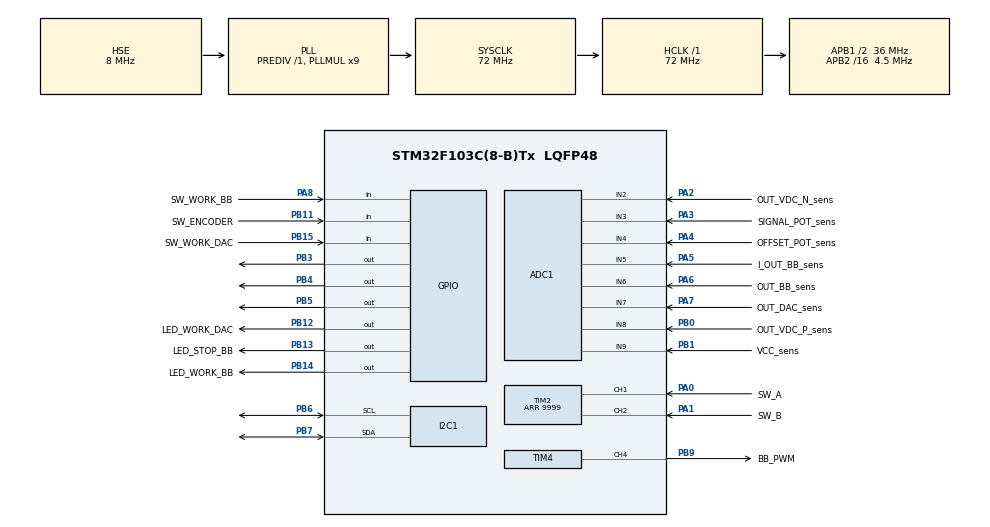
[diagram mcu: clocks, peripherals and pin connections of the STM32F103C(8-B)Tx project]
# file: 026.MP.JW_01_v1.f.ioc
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ADC1.Channel-10\#ChannelRegularConversion=ADC_CHANNEL_9
ADC1.Channel-11\#ChannelRegularConversion=ADC_CHANNEL_8
ADC1.Channel-12\#ChannelRegularConversion=ADC_CHANNEL_7
ADC1.Channel-13\#ChannelRegularConversion=ADC_CHANNEL_6
ADC1.Channel-14\#ChannelRegularConversion=ADC_CHANNEL_5
ADC1.Channel-15\#ChannelRegularConversion=ADC_CHANNEL_4
ADC1.Channel-16\#ChannelRegularConversion=ADC_CHANNEL_3
ADC1.Channel-17\#ChannelRegularConversion=ADC_CHANNEL_2
ADC1.ContinuousConvMode=DISABLE
ADC1.DataAlign=ADC_DATAALIGN_RIGHT
ADC1.DiscontinuousConvMode=DISABLE
ADC1.EnableRegularConversion=ENABLE
ADC1.NbrOfConversion=8
ADC1.NbrOfConversionFlag=1
ADC1.Rank-10\#ChannelRegularConversion=1
ADC1.Rank-11\#ChannelRegularConversion=2
ADC1.Rank-12\#ChannelRegularConversion=3
ADC1.Rank-13\#ChannelRegularConversion=4
ADC1.Rank-14\#ChannelRegularConversion=5
ADC1.Rank-15\#ChannelRegularConversion=6
ADC1.Rank-16\#ChannelRegularConversion=7
ADC1.Rank-17\#ChannelRegularConversion=8
ADC1.SamplingTime-10\#ChannelRegularConversion=ADC_SAMPLETIME_239CYCLES_5
ADC1.SamplingTime-11\#ChannelRegularConversion=ADC_SAMPLETIME_239CYCLES_5
ADC1.SamplingTime-12\#ChannelRegularConversion=ADC_SAMPLETIME_239CYCLES_5
ADC1.SamplingTime-13\#ChannelRegularConversion=ADC_SAMPLETIME_239CYCLES_5
ADC1.SamplingTime-14\#ChannelRegularConversion=ADC_SAMPLETIME_239CYCLES_5
ADC1.SamplingTime-15\#ChannelRegularConversion=ADC_SAMPLETIME_239CYCLES_5
ADC1.SamplingTime-16\#ChannelRegularConversion=ADC_SAMPLETIME_239CYCLES_5
ADC1.SamplingTime-17\#ChannelRegularConversion=ADC_SAMPLETIME_239CYCLES_5
ADC1.master=1
Dma.ADC1.0.Direction=DMA_PERIPH_TO_MEMORY
Dma.ADC1.0.Instance=DMA1_Channel1
Dma.ADC1.0.MemDataAlignment=DMA_MDATAALIGN_WORD
Dma.ADC1.0.MemInc=DMA_MINC_ENABLE
Dma.ADC1.0.Mode=DMA_CIRCULAR
Dma.ADC1.0.PeriphDataAlignment=DMA_PDATAALIGN_WORD
Dma.ADC1.0.PeriphInc=DMA_PINC_DISABLE
Dma.ADC1.0.Priority=DMA_PRIORITY_LOW
Dma.Request0=ADC1
I2C1.I2C_Mode=I2C_Fast
Mcu.Family=STM32F1
Mcu.Name=STM32F103C(8-B)Tx
Mcu.Package=LQFP48
NVIC.DMA1_Channel1_IRQn=true\:0\:0\:false\:false\:true\:true\:true\:true
NVIC.PriorityGroup=NVIC_PRIORITYGROUP_4
NVIC.TIM2_IRQn=true\:1\:0\:true\:false\:true\:true\:true\:true
NVIC.TIM3_IRQn=true\:2\:0\:true\:false\:true\:true\:true\:true
PA0-WKUP.GPIO_Label=SW_A
PA0-WKUP.GPIO_PuPd=GPIO_PULLUP
PA0-WKUP.Signal=S_TIM2_CH1_ETR
PA1.GPIO_Label=SW_B
PA1.GPIO_PuPd=GPIO_PULLUP
PA1.Signal=S_TIM2_CH2
PA2.GPIO_Label=OUT_VDC_N_sens
PA2.Signal=ADCx_IN2
PA3.GPIO_Label=SIGNAL_POT_sens
PA3.Signal=ADCx_IN3
PA4.GPIO_Label=OFFSET_POT_sens
PA4.Signal=ADCx_IN4
PA5.GPIO_Label=I_OUT_BB_sens
PA5.Signal=ADCx_IN5
PA6.GPIO_Label=OUT_BB_sens
PA6.Signal=ADCx_IN6
PA7.GPIO_Label=OUT_DAC_sens
PA7.Signal=ADCx_IN7
PA8.GPIO_Label=SW_WORK_BB
PA8.GPIO_PuPd=GPIO_PULLUP
PA8.Signal=GPIO_Input
PB0.GPIO_Label=OUT_VDC_P_sens
PB0.Signal=ADCx_IN8
PB1.GPIO_Label=VCC_sens
PB1.Signal=ADCx_IN9
PB11.GPIO_Label=SW_ENCODER
PB11.GPIO_PuPd=GPIO_PULLUP
PB11.Signal=GPIO_Input
PB12.GPIO_Label=LED_WORK_DAC
PB12.GPIO_PuPd=GPIO_NOPULL
PB12.Signal=GPIO_Output
PB13.GPIO_Label=LED_STOP_BB
PB13.GPIO_PuPd=GPIO_NOPULL
PB13.Signal=GPIO_Output
PB14.GPIO_Label=LED_WORK_BB
PB14.GPIO_PuPd=GPIO_NOPULL
PB14.Signal=GPIO_Output
PB15.GPIO_Label=SW_WORK_DAC
PB15.GPIO_PuPd=GPIO_PULLUP
PB15.Signal=GPIO_Input
PB3.GPIO_Speed=GPIO_SPEED_FREQ_LOW
PB3.Signal=GPIO_Output
PB4.GPIO_Speed=GPIO_SPEED_FREQ_LOW
PB4.Signal=GPIO_Output
PB5.GPIO_Speed=GPIO_SPEED_FREQ_LOW
PB5.Signal=GPIO_Output
PB6.Mode=I2C
PB6.Signal=I2C1_SCL
PB7.Mode=I2C
PB7.Signal=I2C1_SDA
PB9.GPIO_Label=BB_PWM
PB9.Signal=S_TIM4_CH4
PC14-OSC32_IN.Mode=LSE-External-Oscillator
PC14-OSC32_IN.Signal=RCC_OSC32_IN
PC15-OSC32_OUT.Mode=LSE-External-Oscillator
PC15-OSC32_OUT.Signal=RCC_OSC32_OUT
PD0-OSC_IN.Mode=HSE-External-Oscillator
PD0-OSC_IN.Signal=RCC_OSC_IN
PD1-OSC_OUT.Mode=HSE-External-Oscillator
PD1-OSC_OUT.Signal=RCC_OSC_OUT
ProjectManager.HeapSize=0x200
ProjectManager.StackSize=0x400
ProjectManager.TargetToolchain=STM32CubeIDE
RCC.ADCPresc=RCC_ADCPCLK2_DIV8
RCC.AHBFreq_Value=72000000
RCC.APB1CLKDivider=RCC_HCLK_DIV2
RCC.APB1Freq_Value=36000000
RCC.APB1TimFreq_Value=72000000
RCC.APB2CLKDivider=RCC_HCLK_DIV16
RCC.APB2Freq_Value=4500000
RCC.APB2TimFreq_Value=9000000
RCC.HCLKFreq_Value=72000000
RCC.PLLMUL=RCC_PLL_MUL9
RCC.PLLSourceVirtual=RCC_PLLSOURCE_HSE
RCC.SYSCLKFreq_VALUE=72000000
RCC.SYSCLKSource=RCC_SYSCLKSOURCE_PLLCLK
RCC.USBFreq_Value=72000000
SH.ADCx_IN2.0=ADC1_IN2,IN2
SH.ADCx_IN3.0=ADC1_IN3,IN3
SH.ADCx_IN4.0=ADC1_IN4,IN4
SH.ADCx_IN5.0=ADC1_IN5,IN5
SH.ADCx_IN6.0=ADC1_IN6,IN6
SH.ADCx_IN7.0=ADC1_IN7,IN7
SH.ADCx_IN8.0=ADC1_IN8,IN8
SH.ADCx_IN9.0=ADC1_IN9,IN9
SH.S_TIM2_CH1_ETR.0=TIM2_CH1,Encoder_Interface
SH.S_TIM2_CH2.0=TIM2_CH2,Encoder_Interface
SH.S_TIM4_CH4.0=TIM4_CH4,PWM Generation4 CH4
TIM2.ClockDivision=TIM_CLOCKDIVISION_DIV1
TIM2.CounterMode=TIM_COUNTERMODE_UP
TIM2.EncoderMode=TIM_ENCODERMODE_TI1
TIM2.IC1Filter=0
TIM2.IC1Polarity=TIM_ICPOLARITY_FALLING
TIM2.IC1Prescaler=TIM_ICPSC_DIV1
TIM2.IC2Polarity=TIM_ICPOLARITY_FALLING
TIM2.IC2Prescaler=TIM_ICPSC_DIV1
TIM2.Period=9999
TIM3.AutoReloadPreload=TIM_AUTORELOAD_PRELOAD_ENABLE
TIM3.Channel-Output\ Compare3\ No\ Output=TIM_CHANNEL_3
TIM3.ClockDivision=TIM_CLOCKDIVISION_DIV1
TIM3.Period=59999
TIM3.Prescaler=11
TIM4.AutoReloadPreload=TIM_AUTORELOAD_PRELOAD_ENABLE
TIM4.Channel-PWM\ Generation4\ CH4=TIM_CHANNEL_4
TIM4.Period=359
TIM4.Prescaler=0
VP_SYS_VS_ND.Mode=No_Debug
VP_TIM3_VS_ClockSourceINT.Mode=Internal
VP_TIM3_VS_no_output3.Mode=Output Compare3 No Output
board=custom

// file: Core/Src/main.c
/* USER CODE BEGIN Header */
/**

 ******************************************************************************
 */
/* USER CODE END Header */

#include <adc.h>
#include <AD9833.h>
#include <cmsis_gcc.h>
#include <dma.h>
#include <fonts.h>
#include <ftoa.h>
#include <gpio.h>
#include <i2c.h>
#include <moving_average.h>
#include <ssd1306.h>
#include <stm32f103xb.h>
#include <stm32f1xx.h>
#include <stm32f1xx_hal_adc.h>
#include <stm32f1xx_hal_adc_ex.h>
#include <stm32f1xx_hal_def.h>
#include <stm32f1xx_hal_flash.h>
#include <stm32f1xx_hal_gpio.h>
#include <stm32f1xx_hal_rcc.h>
#include <stm32f1xx_hal_rcc_ex.h>
#include <stm32f1xx_hal_tim.h>
#include <tim.h>

/* USER CODE END Includes */

/* USER CODE BEGIN PD */

//constants values
#define mes_size 8 //number of ADC channels

//ADC factors
#define n_batt 2.02f	//battery voltage divider multiplier
#define f_batt 0.1f	 //battery voltage factor (adding to value)
#define n_pos_vdc 11.15f	//positive voltage divider (to opamp) multiplier
#define f_pos_vdc 0.1f	//positive voltage divider (to opamp) factor (adding to value)
#define n_conv_voltage_out 11.01f	//converter voltage divider multiplier
#define f_gain 0.05f //factor to opamp gain

//voltage values (references)
#define U_reff 3.33f //reference voltage to converting voltages value
#define U_bb_max 25.0f //max voltage [in V] value possible to set in converter
#define I_bb_max 2000.0f //max current [in mA] value possible to set in converter
#define U_I_mes_bb_max 1.00f// max voltage [in V] in the shunt for current measurements (at the max possible current)
#define U_batt_min 2.7f// min voltage in battery
#define U_batt_max 4.2f// max voltage in battery

/*
 * UNITS:
 * VOLTAGE -  [V]
 * CURRENT - [mA]
 * FREQUENCY - [Hz]
 * PWM - [-]
 *
 * CODE IS DEDICATED TO WORK WITH HARDWARE IN 2.3.1 VERSION
 */

/* USER CODE END PD */

/* USER CODE BEGIN PV */

//NECESSARY VALUES

//converter
int16_t conv_pwm_control = 0;	//PWM value to converter transistor
float conv_voltage_set = 5.0f; //voltage set on the converter - with initial value
float conv_voltage_mes = 0.0f; //voltage read from ADC (after processing)
float conv_current_set =500.0f ;//current set on the converter - with initial value
float conv_current_mes = 0.0f; //current read from ADC (after processing)
uint8_t conv_sw_start = 0; //converter start stop variable
uint8_t conv_sw_start_prev = 0; //converter start stop variable - previous state
uint8_t conv_led_red = 0; //red LED (overcurrent protection) state variable
uint8_t conv_led_green = 0; //green (on/off) LED state variable
float conv_prev_voltage_diff = 0.0f;	//previous voltage difference between set and measure voltage
float conv_actual_voltage_diff = 0.0f;	//actual voltage difference between set and measure voltage
const uint16_t conv_pwm_min=0; //min PWM filling threshold
const uint16_t conv_pwm_max=80; //max PWM filling threshold (to protect circuit about short)
const uint16_t conv_pwm_arr_value=360; //max PWM filling - ARR value

//wave generator
float wg_offset_set = 0.0f; //voltage offset output value
float wg_offset_raw = 0.0f; //raw offset value - before converting on real value of offset
uint8_t wg_sw_start = 0; //on off wave generator state
uint8_t wg_led_blue = 0; //blue(on/off) LED state variable
uint32_t dac_freq = 1000; //frequency set on the wg - with initial value
uint8_t wg_wave_mode = 0; //type of generated wave (sine, square, triangle)
const uint32_t wg_max_frequency = 300000; //max wave frequency possible to set
float wg_gain = 0.0f; //gain output signal value
float wg_raw_amplitude = 0.0f;	//raw amplitude value (without gain)
uint8_t wg_offset_ovr = 0;	//overrange of supply voltage for offset
uint8_t wg_out_ovr = 0;	//overrange of supply voltage for wg output
uint8_t wg_out_state = 0;	//wg start stop variable
float wg_cal_out = 0.0f; //calculated output wg value

//ADC and supply
float vcc_voltage_batt_mes = 0.00f; //battery voltage
uint8_t vcc_batt_soc = 0; //battery soc in percent
const uint8_t batt_low_soc = 20; //low battery level in percent
uint8_t batt_low_state = 0;	//low battery state variable
uint8_t error_screen_delay = 0;	//variable to turn on supply error screens after delay (to stabilize the power supply in the opamp section)
uint8_t power_error_state = 0;	//if =1 error screen was show
float pos_vdc_voltage_mes = 0; //positive voltage value to opamp section
float neg_vdc_voltage_mes = 0; //negative voltage value to opamp section
const float pos_vdc_voltage_low = 8.8f; //positive voltage value to set supply trouble
const float neg_vdc_voltage_low = -8.0f; //negative voltage value to set supply trouble
uint32_t adc_raw_value[mes_size]; //ADC raw values buffer
uint16_t adc_value_conv[mes_size]; //ADC filtered values buffer
volatile float value_voltage[mes_size]; //buffer for voltage values from ADC (after conversion on voltage)

//encoder - optimization is needed
volatile uint8_t encoder_switch_short = 0; //short hold variable
uint8_t encoder_switch_short_1 = 0; //short hold variable
uint8_t encoder_switch_short_2 = 0; //short hold variable
volatile uint8_t encoder_switch_long = 0; //long hold variable
uint8_t encoder_switch_long_1 = 0; //long hold variable
uint8_t encoder_switch_long_2 = 0; //long hold variable
volatile uint8_t encoder_switch_double_long = 1; //very long hold variable
uint8_t encoder_switch_double_long_1 = 1; //very long hold variable
uint8_t encoder_switch_double_long_2 = 1; //very long hold variable
uint64_t encoder_switch_timer = 0; //variable to save hold encoder pushbutton moment
volatile uint16_t encoder_rot =0; //ncoder rotation value
uint16_t encoder_rot_prev =0; //previous encoder rotation value
const uint8_t endoer_hold_times[]= {1,5,10,15};	//hold times for encoder pushbutton

//timers
volatile uint8_t timer_3_counter_main = 0;	//main timer counter to generate time base and delays
const uint8_t timer_3_counter_main_max_fac = 10; //main timer counter - value to generate 1 s
volatile uint8_t timer_3_counter_encoder_sw = 0;	//timer counter to encoder pushbutton hold mode
volatile uint8_t timer_3_counter_conv_sync = 0;	//timer for converter reset after asynchronization
volatile uint8_t timer_3_counter_error_check_delay = 0;	//timer for generate delay to error screens
const uint8_t timer_3_counter_error_check_delay_fac = 20; //value of delay to timer for generate delay to error screens
volatile uint8_t timer_3_counter_graph = 0;	//timer to draw x value on a graph
const uint8_t timer_3_counter_graph_max_fac = 5; //value for generate time base for graph (multiplication factor to 10 ms)

//screen
char screen_text_buff[6];	//text buffer
uint8_t screen_cursor_config[3];	//table with cursor configuration for any screen
/*
 * pos 0 - 1=on, 0=0ff
 * pos 1 - number of first line with cursor
 * pos 2 - number of cursor step (in line)
 */
uint8_t screen_new =1;	//new screen was set flag
uint8_t screen_old_num = 0;	//previous screen number
uint16_t screen_multiplier = 10;	//multiplier of the selected value on the screen
const uint16_t screen_multiplier_value[] = {1, 10, 100, 1000}; //possible multipliers for selected values
const uint8_t screen_indicator_step_vertical = 9;	//number of pixels to be jumped by the cursor (during selecting value)
const uint8_t indicator_screens_number = 2;	//number of screens with cursor - view in code

//graph
uint8_t x_value_graph = 0;	//graph value in horizontal (in this code is a time on graphs)
const uint8_t x_value_graph_max_fac = 100; //max value for above
double ox_last_value_graph = 0;	//last value x on a graph
double oy_last_value_graph = 0; //last value y on a graph
uint8_t init_new_graph = 1;	//variable to set new coordinate system on the graph
uint8_t graph_set = 0;	//variable to select graph
uint8_t graph_set_prev = 0;	//previous selected graph number
const uint8_t graph_screen_max = 2;	//number of all screens with a graph

//filters
FilterTypeDef_0 filterStruct_slow[mes_size]; //moving average structure - slow
FilterTypeDef_1 filterStruct_fast[mes_size]; //moving average structure - fast

/* USER CODE END PV */

void SystemClock_Config(void);
/* USER CODE BEGIN PFP */

//map int
long map(long x, long in_min, long in_max, long out_min, long out_max) {
	/*
	 * map function or linear transformation
	 * x - value to scale
	 * in_min - min input value to be scaled
	 * in_max - max input value to be scaled
	 * out_min - min output value after scaled
	 * out_max - max output value after scaled
	 */
	return (x - in_min) * (out_max - out_min) / (in_max - in_min) + out_min;
}
//map float
float map_f(float x, float in_min, float in_max, float out_min, float out_max) {
	/*
	 *  map function or linear transformation
	 * x - value to scale
	 * in_min - min input value to be scaled
	 * in_max - max input value to be scaled
	 * out_min - min output value after scaled
	 * out_max - max output value after scaled
	 */
	return (x - in_min) * (out_max - out_min) / (in_max - in_min) + out_min;
}

//constrain int
long constrain(long x, long a, long b) {
	/*
	 * function to limit the input values
	 * x - input value
	 * a - lowest value of the range
	 * b - highest value of the range
	 */

	if (x < a) {
		return a;
	} else if (x > b) {
		return b;
	} else
		return x;
}

//constrain float
float constrain_f(float x, float a, float b) {
	/*
	 * function to limit the input values
	 * x - input value
	 * a - lowest value of the range
	 * b - highest value of the range
	 */

	if (x < a) {
		return a;
	} else if (x > b) {
		return b;
	} else
		return x;
}

//function to scrolling values int
int32_t scroll_value (int64_t input, int64_t min, int64_t max )
{
	/*
	 * function to scrolling the input values
	 * input - input value
	 * min - lowest value of the range
	 * max - highest value of the range
	 */

	if(input>max)
	{
		input = min;
	}
	else
	{

	}
	return input;
}

//function to scrolling values float
float scroll_value_f (float input,float min, float max )
{
	/*
	 * function to scrolling the input values
	 * input - input value
	 * min - lowest value of the range
	 * max - highest value of the range
	 */

	if(input>max)
	{
		input = min;
	}
	else
	{

	}
	return input;
}

//randomize a number from the range
int64_t random_number (int64_t min_rand, int64_t max_rand)
{
	/*
	 * function to randomize a number from the range
	 * min_rand - lowest value of the range
	 * max_rand - highest value of the range
	 */

	int32_t tmp;
    if (max_rand>=min_rand)
    {
        max_rand-= min_rand;
    }
    else
    {
        tmp= min_rand - max_rand;
        min_rand= max_rand;
        max_rand= tmp;
    }
    return max_rand ? (rand() % max_rand + min_rand) : min_rand;
}

//graph function
void draw_graph(double x, double y, double graph_orgin_x, double graph_orgin_y,
		double graph_w, double graph_h, double xlo_value, double xhi_value,
		double ylo__value, double yhi__value, char title[], uint8_t data_type,
		char time_step[]) {
	/*
	 * function to make graph y=f(x), adapted to work with a library to ssd1306
	 * x - input x value (horizontal), like as time
	 * y - input y value (vertical), lie as voltage
	 * graph_orgin_x - origin point of the graph on the x axis (origin of screen is in high, left corner)
	 * graph_orgin_y - origin point of the graph on the y axis (origin of screen is in high, left corner)
	 * graph_w - graph width
	 * graph_h - graph height
	 * xlo_value - lowest value on the x axis
	 * xhi_value - highest value on the x axis
	 * ylo_value - lowest value on the y axis
	 * yhi_value - highest value on the y axis
	 * title - title of the graph
	 * data_type - data type, 1 if int is used, 0 if float is used,
	 * time_step - step of x value, on the label of the graph
	 */

	//text offset values (near axis)
	uint8_t x_addicional_space = 25;
	uint8_t y_addicional_space = 2;

	if (init_new_graph == 1) {

		init_new_graph = 0;
		SSD1306_DrawFilledRectangle(0, 0, 127, 10, 1);

		SSD1306_GotoXY(1, 2);

		SSD1306_Puts(title, &Font_6x8, 0);
		SSD1306_Puts(": ", &Font_6x8, 0);
		if (data_type == 1) {
			itoa((int16_t) y, screen_text_buff, 10);
		} else {
			ftoa(screen_text_buff, y, 1);
		}
		SSD1306_Puts(screen_text_buff, &Font_6x8, 0);
		SSD1306_Puts(time_step, &Font_6x8, 0);

		ox_last_value_graph = (x - xlo_value) * (graph_w)
				/ (xhi_value - xlo_value) + graph_orgin_x;
		oy_last_value_graph = (y - ylo__value)
				* (graph_orgin_y - graph_h - graph_orgin_y)
				/ (yhi__value - ylo__value) + graph_orgin_y;

		// draw y scale
		SSD1306_DrawLine(graph_orgin_x, graph_orgin_y, graph_orgin_x,
				graph_orgin_y - graph_h, 1);

		SSD1306_GotoXY(graph_orgin_x - x_addicional_space, graph_orgin_y);

		if (data_type == 1) {
			itoa((int16_t) ylo__value, screen_text_buff, 10);
		} else {
			ftoa(screen_text_buff, ylo__value, 1);
		}
		SSD1306_Puts(screen_text_buff, &Font_6x8, 1);

		SSD1306_GotoXY(graph_orgin_x - x_addicional_space, graph_orgin_y - graph_h);

		if (data_type == 1) {
			itoa((int16_t) yhi__value, screen_text_buff, 10);
		} else {
			ftoa(screen_text_buff, yhi__value, 1);
		}
		SSD1306_Puts(screen_text_buff, &Font_6x8, 1);

		// draw x scale
		SSD1306_DrawLine(graph_orgin_x, graph_orgin_y, graph_orgin_x + graph_w,
				graph_orgin_y, 1);

		SSD1306_GotoXY(graph_orgin_x, graph_orgin_y + y_addicional_space);

		if (data_type == 1) {
			itoa((int16_t) xlo_value, screen_text_buff, 10);
		} else {
			ftoa(screen_text_buff, xlo_value, 1);
		}
		SSD1306_Puts(screen_text_buff, &Font_6x8, 1);

		SSD1306_GotoXY(graph_orgin_x + graph_w, graph_orgin_y + y_addicional_space);

		if (data_type == 1) {
			itoa((int16_t) xhi_value, screen_text_buff, 10);
		} else {
			ftoa(screen_text_buff, xhi_value, 1);
		}
		SSD1306_Puts(screen_text_buff, &Font_6x8, 1);
	}

	// graph drawn now plot the data
	x = (x - xlo_value) * (graph_w) / (xhi_value - xlo_value) + graph_orgin_x;
	y = (y - ylo__value) * (graph_orgin_y - graph_h - graph_orgin_y)
			/ (yhi__value - ylo__value) + graph_orgin_y;
	SSD1306_DrawLine(ox_last_value_graph, oy_last_value_graph, x, y, 1);
	SSD1306_DrawLine(ox_last_value_graph, oy_last_value_graph - 1, x, y - 1, 1);
	ox_last_value_graph = x;
	oy_last_value_graph = y;

	// this call sends the data to the screen
	SSD1306_UpdateScreen();

}

//function to calculate voltage inputing to ADC from voltage divider with negative level
float adc_signal_shifter (float r1, float r2, float r3, float Vcc, float Vx)
{
	/*
	 *more about function in calculation sheet
	 * r1 - resistor 1 (Vin)
	 * r2 - resistor 2 (Vcc)
	 * r3 - resistor 3 (ground or the lowest voltage)
	 * Vcc - divider supply voltage
	 * Vx - input voltage (to divider)
	 */
 return ((((Vx*((r2*r3)+(r1*r3)+(r1*r2)))/r3) - (Vcc*r1))/r2);
}

//function with correct factors to offset calculation (obtained using the signal measured by the uC and a multimeter)
float final_offset_correction(float input_offset) {
	/*
	 * input_offset - raw value of ADC voltage, without correction
	 */
	if (input_offset <= -5.0f) {
		input_offset = input_offset * 0.77;
	} else if ((input_offset > -5.0f) && (input_offset <= -4.0f)) {
		input_offset = input_offset * 0.74;
	} else if ((input_offset > -4.0f) && (input_offset <= -3.0f)) {
		input_offset = input_offset * 0.72;
	} else if ((input_offset > -3.0f) && (input_offset <= -2.0f)) {
		input_offset = input_offset * 0.73f;
	} else if ((input_offset > -2.0f) && (input_offset <= -1.0f)) {
		input_offset = input_offset * 0.67f;
	} else if ((input_offset > -1.0f) && (input_offset < 0.0f)) {
		input_offset = input_offset * 0.62f;
	} else if ((input_offset > 0.0f) && (input_offset <= 1.0f)) {
		input_offset = input_offset * 1.01f;
	} else if ((input_offset > 1.0f) && (input_offset <= 2.0f)) {
		input_offset = input_offset * 0.95;
	} else if ((input_offset > 2.0f) && (input_offset <= 3.0f)) {
		input_offset = input_offset * 0.88;
	} else if ((input_offset > 3.0f) && (input_offset <= 4.0f)) {
		input_offset = input_offset * 0.82;
	} else if ((input_offset > 4.0f) && (input_offset <= 5.0f)) {
		input_offset = input_offset * 0.83;
	} else if ((input_offset > 5.0f) && (input_offset <= 6.0f)) {
		input_offset = input_offset * 0.82;
	} else if ((input_offset > 6.0f) && (input_offset <= 7.0f)) {
		input_offset = input_offset * 0.80f;
	} else if ((input_offset > 7.0f) && (input_offset <= 8.0f)) {
		input_offset = input_offset * 0.79;
	} else {
		input_offset = input_offset;
	}

	return input_offset;
}

//function to read ADC from multiple channels and processing the values
void adc_read(void) {

	HAL_ADC_Start_DMA(&hadc1, adc_raw_value, mes_size); //read ADC values

	//use the moving average if is needed
	for (uint8_t i = 0; i <= mes_size - 1; i++) {

		if ((i == 0) || (i == 1) || (i == 7)) {	//slow moving average - to voltages like as supply, pos and neg to op amp

			adc_value_conv[i] = Moving_Average_Compute_0(adc_raw_value[i],
					&filterStruct_slow[i]);

		}

		else if ((i == 2) || (i == 6) || (i == 5) || (i == 4)) {//fast moving average - to potentiometers and converter current

			adc_value_conv[i] = Moving_Average_Compute_1(adc_raw_value[i],
					&filterStruct_fast[i]);
		}

		else {
			adc_value_conv[i] = adc_raw_value[i]; // without moving average - for other signals
		}

		value_voltage[i] = (U_reff / 4095.0f) * adc_value_conv[i];//conversion to voltage
	}

	//further voltage processing

	//channel 9 - li-ion battery voltage - conversion to SOC
	vcc_voltage_batt_mes = (value_voltage[0] * n_batt) + f_batt;
	vcc_batt_soc = map_f(vcc_voltage_batt_mes, U_batt_min, U_batt_max, 0, 100);
	vcc_batt_soc = constrain_f(vcc_batt_soc, 0, 100);

	//channel 8 - step up converter voltage to supply op amp circuit (with required corrections)
	pos_vdc_voltage_mes = (value_voltage[1] * n_pos_vdc) + f_pos_vdc;

	/*
	 *channel 7 - voltage from offset potentiometer,
	 *voltage from the offset potentiometer, between the positive and negative values to ground
	 *is needed shift voltage to ADC level (0-3.3 V)
	 */
	wg_offset_raw = adc_signal_shifter(10.0f, 2.2f, 4.7f, U_reff,
			value_voltage[2]);

	//channel 7 - value correction to the actual level of the voltage value coming out of the potentiometer - raw voltage value
	if ((wg_offset_raw > 4.0f) && (wg_offset_raw < 6.0f)) {
		wg_offset_raw = wg_offset_raw * 0.98f;
	} else if ((wg_offset_raw < 0.0f) && (wg_offset_raw > -4.0f)) {
		wg_offset_raw = wg_offset_raw * 0.95f;
	} else if (wg_offset_raw <= -4.0f) {
		wg_offset_raw = wg_offset_raw * 0.97f;
	} else {
		wg_offset_raw = wg_offset_raw;
	}

	//channel 6 - sepic converter voltage out - to user and feedback
	conv_voltage_mes = value_voltage[3] * n_conv_voltage_out;

	//channel 6 - value correction for channel 6
	if (conv_voltage_mes <= 5.0f) {
		conv_voltage_mes = conv_voltage_mes - 0.1f;
	} else if ((conv_voltage_mes > 5.0f) && (conv_voltage_mes <= 10.0f)) {
		conv_voltage_mes = conv_voltage_mes - 0.25f;
	} else if ((conv_voltage_mes > 10.0f) && (conv_voltage_mes <= 20.0f)) {
		conv_voltage_mes = conv_voltage_mes - 0.5f;
	} else {
		conv_voltage_mes = conv_voltage_mes - 1.0f;
	}

	//channel 5 - shunt voltage to measure current from the sepic converter and proccesing of them
	conv_current_mes = map_f(value_voltage[4], 0.0f, U_I_mes_bb_max, 0.0f,
			I_bb_max);

	//channel 4 - old voltage from offset potentiometer (from second wire of potentiometer) - not used now, free channel to future application
//	dac_offset_set = value_voltage[5];
//	dac_offset_set = map_f(dac_offset_set, 0.0f, U_reff, neg_vdc_voltage_mes ,pos_vdc_voltage_mes);
//	dac_offset_set= constrain_f(dac_offset_set, neg_vdc_voltage_mes, pos_vdc_voltage_mes) ;

	//channel 3 -  voltage from the second circuit of the signal gain potentiometer and converting to potentiometer resistance
	wg_gain = value_voltage[6] + f_gain;
	wg_gain = map_f(wg_gain, 0.0f, U_reff, 0.0f, 10.0f);
	wg_gain = constrain_f(wg_gain, 0.0f, 10.0f);

	//variable with resistance value of gain potentiometer
	float dac_amplitude_pot = wg_gain;

	//calculation of true signal gain on the opamp circuit output
	wg_gain = ((wg_gain / 1) * wg_raw_amplitude);

	//channel 3 - value correction for channel 3
	if ((wg_gain > 0.50f) && (wg_gain < 1.0f)) {
		wg_gain = wg_gain - 0.1f;
	} else if ((wg_gain >= 1.0f) && (wg_gain < 2.0f)) {
		wg_gain = wg_gain * 0.84f;
	} else if ((wg_gain >= 2.0f) && (wg_gain < 3.0f)) {
		wg_gain = wg_gain * 0.84f;
	} else if ((wg_gain >= 3.0f) && (wg_gain < 4.0f)) {
		wg_gain = wg_gain * 0.87f;
	} else if (wg_gain >= 4.0f) {
		wg_gain = wg_gain * 0.91;
	} else {
		wg_gain = wg_gain;
	}

	/*
	 *channel 2 - negative voltage to supply op amp circuit
	 *is needed shift voltage to ADC level (0-3.3 V)
	 */
	neg_vdc_voltage_mes = adc_signal_shifter(10.0f, 2.2f, 4.7f, U_reff,
			value_voltage[7]);

	//calculation of true voltage offset on the output of the opamp circuit
	wg_offset_set = wg_offset_raw * (1 + (dac_amplitude_pot));

	//voltage offset value correction
	wg_offset_set = final_offset_correction(wg_offset_set);	//korekta offsetu

	//average output voltage from wave generator
	wg_cal_out = wg_offset_set - (wg_gain / 2.0f);

	//checking the max offset and output voltage values (is in opamp circuit supply voltage range)
	if (((wg_cal_out - 0.5f) > pos_vdc_voltage_mes)
			|| ((wg_cal_out - 0.5f) < neg_vdc_voltage_mes)) {
		wg_out_ovr = 1;
	} else {
		wg_out_ovr = 0;
	}

	if (((wg_offset_set - 0.5f) > pos_vdc_voltage_mes)
			|| ((wg_offset_set - 0.5f) < neg_vdc_voltage_mes)) {
		wg_offset_ovr = 1;
	} else {
		wg_offset_ovr = 0;
	}
}

//function to scrolling values from encoder to int
uint32_t encoder_managment(uint32_t input, uint32_t min, uint32_t max,
		uint32_t step, uint8_t mode) {
	/*
	 * function scroll values from encoder on the screen depending on the specified parameters
	 * input - value to scroll
	 * min - min scroll value
	 * max - max scroll value
	 * step - step to scroll
	 * mode - if 1 is set the maximum value is not scrolled to the minimum value , if 0 after passing the maximum value returns the minimum value
	 */

	if (encoder_rot_prev > encoder_rot) {
		input = input + step;
		encoder_rot_prev = encoder_rot;
	} else if (encoder_rot_prev < encoder_rot) {
		input = input - step;
		encoder_rot_prev = encoder_rot;
	} else {

	}

	if (mode == 1) {
		input = constrain(input, min, max);
	} else {
		input = scroll_value(input, min, max);
	}

	return input;
}

//function to scrolling values from encoder to float
float encoder_managment_f(float input, float min, float max, float step,
		float mode) {
	/*
	 * function scroll values from encoder on the screen depending on the specified parameters
	 * input - value to scroll
	 * min - min scroll value
	 * max - max scroll value
	 * step - step to scroll
	 * mode - if 1 is set the maximum value is not scrolled to the minimum value , if 0 after passing the maximum value returns the minimum value
	 */
	if (encoder_rot_prev > encoder_rot) {
		input = input + step;
		encoder_rot_prev = encoder_rot;
	} else if (encoder_rot_prev < encoder_rot) {
		input = input - step;
		encoder_rot_prev = encoder_rot;
	} else {

	}

	if (mode == 1) {
		input = constrain_f(input, min, max);
	} else {
		input = scroll_value_f(input, min, max);
	}

	return input;
}

//function to read data from switch and encoder's button
void switch_managment(void) {
	/*
	 * function read hold time from encoder's button using timer 3
	 * function also read data from rocker switches, turn on wg and converter LEDs
	 */

	//encoder's button
	if ((HAL_GPIO_ReadPin(SW_ENCODER_GPIO_Port, SW_ENCODER_Pin) != 1)) {

		if ((timer_3_counter_encoder_sw - encoder_switch_timer
				>= endoer_hold_times[2])
				&& (timer_3_counter_encoder_sw - encoder_switch_timer
						<= endoer_hold_times[3])) //very long
				{
			if (encoder_switch_double_long_1 == 0) {
				encoder_switch_double_long_1++;
				encoder_switch_double_long_2++;
				encoder_switch_long_2--;
			}
		} else if ((timer_3_counter_encoder_sw - encoder_switch_timer
				>= endoer_hold_times[1])
				&& (timer_3_counter_encoder_sw - encoder_switch_timer
						< endoer_hold_times[2])) //long
				{
			if (encoder_switch_long_1 == 0) {
				encoder_switch_long_1++;
				encoder_switch_long_2++;
				encoder_switch_short_2--;
			}
		} else if ((timer_3_counter_encoder_sw - encoder_switch_timer
				>= endoer_hold_times[0])
				&& (timer_3_counter_encoder_sw - encoder_switch_timer
						< endoer_hold_times[1])) //short
				{
			if (encoder_switch_short_1 == 0) {
				encoder_switch_short_1++;
				encoder_switch_short_2++;
			}
		}
	} else {
		encoder_switch_timer = timer_3_counter_encoder_sw;
		encoder_switch_double_long_1 = 0;
		encoder_switch_long_1 = 0;
		encoder_switch_short_1 = 0;
		encoder_switch_double_long = encoder_switch_double_long_2;
		encoder_switch_long = encoder_switch_long_2;
		encoder_switch_short = encoder_switch_short_2;
	}

	//rocker switches status and leds activation

	//converter
	if (HAL_GPIO_ReadPin(GPIOA, SW_WORK_BB_Pin) == 1) {
		conv_sw_start = 1;
		HAL_GPIO_WritePin(GPIOB, LED_WORK_BB_Pin, SET);
	} else {
		conv_sw_start = 0;
		HAL_GPIO_WritePin(GPIOB, LED_WORK_BB_Pin, RESET);
		HAL_GPIO_WritePin(GPIOB, LED_STOP_BB_Pin, RESET);
	}

	//wage generator
	if (HAL_GPIO_ReadPin(GPIOB, SW_WORK_DAC_Pin) == 1) {
		wg_sw_start = 1;
		HAL_GPIO_WritePin(GPIOB, LED_WORK_DAC_Pin, SET);
	} else {
		wg_sw_start = 0;
		HAL_GPIO_WritePin(GPIOB, LED_WORK_DAC_Pin, RESET);
	}
}

//function to control wave generator
void wave_generator_managment(void) {
	//check switch state
	if (wg_sw_start == 1) {
		//set wave shape and frequency
		AD9833_SetWave(wg_wave_mode);
		AD9833_SetWaveData(dac_freq, 0);
	} else {
		AD9833_SetWaveData(0, 0);
		wg_raw_amplitude = 0.0f;
	}
}

//function to control converter work
void converter_managment(void) {

	/*
	 * function to control converter work
	 * converter is build in SEPIC topology
	 * constant values are selected experimentally
	 * code is a kind of PI algorithm
	 * code uses the current and last error
	 * the code first checks the current consumption, if it is lower than the set one,
	 * it checks the voltage difference and generates the PWM
	 * the code works better with the load connected to the output converter (with the lowest oscillations)
	 * converter without connected load has higher oscillation
	 * if the converter goes into an asynchronous state, the code can reset the PWM value
	 * PWM ramping depends on the current consumed, this prevents overly oscillating
	 */

	adc_read();	//fresh ADC data to converter

	//local variable and settings to converter
	conv_actual_voltage_diff = fabs(conv_voltage_set - conv_voltage_mes);//check voltage difference between set and output value
	float conv_voltage_diff_fac_1 = 10.0f; //threshold 1 - big voltage difference
	float conv_voltage_diff_fac_2 = 1.0f; //threshold 2 - small voltage difference
	float conv_diff_hyst_fac = 0.5f; //hysteresis value for switching conditions, to avoid infinite switching of states
	uint8_t conv_diff_state = 0; //variable to switch the correction power
	float conv_prev_voltage_diff_fac = 0; //factor for last value of voltage difference
	float conv_actual_voltage_diff_fac = 0; //factor for current value of voltage difference
	uint16_t conv_ovc_hyst_fac = 100;	// hysteresis to ovc protection
	uint8_t conv_ovc_state = 0;	//overcurrent protection state variable

	//set factors depending on current power consumption
	//if output is connected
	if (conv_current_mes > 0.1f) {
		//voltage difference is big
		if ((conv_actual_voltage_diff >= (conv_voltage_diff_fac_1 + conv_diff_hyst_fac))
				&& (conv_ovc_state == 0)) {
			conv_diff_state = 0;

			conv_prev_voltage_diff_fac = 3.0f;
			conv_actual_voltage_diff_fac = 1.7f;
		}
		//voltage difference is small
		else if ((conv_actual_voltage_diff >= (conv_voltage_diff_fac_2 + conv_diff_hyst_fac))
				&& (conv_actual_voltage_diff < conv_voltage_diff_fac_1)
				&& (conv_ovc_state == 0)) {
			conv_diff_state = 0;

			conv_prev_voltage_diff_fac = 2.5;
			conv_actual_voltage_diff_fac = 1.2;
		}
		//voltage difference is very small
		else {
			conv_diff_state = 1;
		}

		//calculate errors
		conv_actual_voltage_diff = conv_actual_voltage_diff * conv_actual_voltage_diff_fac;
		conv_prev_voltage_diff = conv_prev_voltage_diff * conv_prev_voltage_diff_fac;
	}
	//if output is unconnected
	else {
		//because unloaded converter is very "rapid"
		//lowest voltage difference to correct PWM values
		if (conv_actual_voltage_diff > 0.15f) {
			conv_diff_state = 1;
		}
		//don't correct PWM value
		else {
			conv_diff_state = 2;
		}
	}

	//let's work (if the rocker switch is on)
	if (conv_sw_start == 1) {

		//if the overcurrent protection does not work
		if (conv_current_mes < conv_current_set) {

			//turn off OVC LED
			HAL_GPIO_WritePin(GPIOB, LED_STOP_BB_Pin, RESET);

			//check voltage state and calculate PWM
			if (conv_voltage_set > conv_voltage_mes) {
				if (conv_diff_state == 0) {
					conv_pwm_control = conv_pwm_control
							+ (int16_t) (conv_actual_voltage_diff
									+ conv_prev_voltage_diff);
				} else if (conv_diff_state == 1) {
					conv_pwm_control++;
				} else {
				}
			} else if (conv_voltage_set < conv_voltage_mes) {
				if (conv_diff_state == 0) {
					conv_pwm_control = conv_pwm_control
							- (int16_t) (conv_actual_voltage_diff
									+ conv_prev_voltage_diff);
				} else if (conv_diff_state == 1) {
					conv_pwm_control--;
				} else {
				}
			}
			else {
			}
		}
		//if the overcurrent protection work
		else if (conv_current_mes > conv_current_set) {

			//turn on OVC LED
			HAL_GPIO_WritePin(GPIOB, LED_STOP_BB_Pin, SET);

			conv_ovc_state = 1;

			//reduce the PWM value
			//if difference is big
			if (fabs(conv_current_set - conv_current_mes)
					> ((float) conv_ovc_hyst_fac)) {
				conv_pwm_control = conv_pwm_control - (int16_t)((fabs(conv_current_set - conv_current_mes)* 0.2f));
			}
			//if the difference is small
			else {
				conv_pwm_control--;
			}
		} else {
		}
		//limitation of high value of PWM to protect the transistor in the converter
		conv_pwm_control = constrain(conv_pwm_control,
				((conv_pwm_arr_value * conv_pwm_min) / 100),
				((conv_pwm_arr_value * conv_pwm_max) / 100));
	}
	//if converter is off
	else {
		conv_pwm_control = 0;
		conv_ovc_state = 0;
	}

	//asynchronization protection - reset PWM value
	if ((conv_pwm_control >= ((conv_pwm_arr_value * conv_pwm_max) / 100))
			&& (conv_sw_start == 1)) {
		//set reset delay proportional to voltage difference - it is a core of this mechanism
		uint16_t max_reset_delay = (uint16_t) map_f(conv_actual_voltage_diff,
				0.0f, 20.0f, (float) 0, (float) 10);

		//reset time counter
		if (timer_3_counter_conv_sync >= max_reset_delay) {
			timer_3_counter_conv_sync = 0;
			conv_pwm_control = 0;
		}

	} else {
		timer_3_counter_conv_sync = 0;
	}

		/*
		 * at the first time of start the inverter, check that the load is connected
		 * by increasing the PWM (more than the calculations show)
		 * necessarily to check the current consumption of the initial part of this function
		 * then work with calculated PWM value
		 */
	if ((conv_sw_start == 1) && (conv_sw_start_prev == 0)) {
		//the initial PWM value is scaled and limited
		__HAL_TIM_SET_COMPARE(&htim4, TIM_CHANNEL_4,
				constrain(((int16_t )conv_voltage_set * 5), 20,
						((conv_pwm_arr_value * conv_pwm_max) / 100)));
	} else {
		__HAL_TIM_SET_COMPARE(&htim4, TIM_CHANNEL_4, conv_pwm_control);
	}

	//set new values to incoming calculations
	conv_prev_voltage_diff = conv_actual_voltage_diff;
	conv_sw_start_prev = conv_sw_start;
}

//wave generator screen
void oled_wave_generator(void) {

	//data to set cursor
	screen_cursor_config[0] = 1;	//active
	screen_cursor_config[1] = 0;	//first position
	screen_cursor_config[2] = 1;	//step

	//set title and shape of signal, add information about raw gain of signal (according with AD9833 datasheet)
	SSD1306_GotoXY(0, 0);
	SSD1306_DrawFilledRectangle(0, 0, 109, 7, 1);
	SSD1306_Puts("-GENERATOR- ", &Font_6x8, 0);
	if (wg_wave_mode == 0) {
		SSD1306_Puts("SINE", &Font_6x8, 0);
		wg_raw_amplitude = 0.55f;
	}
	else if (wg_wave_mode == 1) {
		SSD1306_Puts("PWM ", &Font_6x8, 0);
		wg_raw_amplitude = 3.1;
	}
	else if (wg_wave_mode == 2) {
		SSD1306_Puts("TRI ", &Font_6x8, 0);
		wg_raw_amplitude = 0.55f;
	}
	else {
		wg_wave_mode = 0;
		SSD1306_Puts("ERROR", &Font_6x8, 0);
		wg_raw_amplitude = 0.0f;
	}

	//set frequency
	SSD1306_GotoXY(0, 9);
	SSD1306_Puts("F [Hz]: ", &Font_6x8, 1);
	itoa(dac_freq, screen_text_buff, 10);
	SSD1306_Puts(screen_text_buff, &Font_6x8, 1);
	SSD1306_Puts("  ", &Font_6x8, 1);

	//show offset - set by potentiometer
	SSD1306_GotoXY(0, 18);
	SSD1306_Puts("V OS max [V]: ", &Font_6x8, 1);
	ftoa(screen_text_buff, wg_offset_set, 1);

	//add minus symbol (because between -1 and 0 is not displayed)
	if ((wg_offset_set < 0.0f) && (wg_offset_set > -1.0f)) {
		SSD1306_Puts("-", &Font_6x8, 1);
	}
	SSD1306_Puts(screen_text_buff, &Font_6x8, 1);
	SSD1306_Puts("  ", &Font_6x8, 1);

	//show gain - set by potentiometer
	SSD1306_GotoXY(0, 27);
	SSD1306_Puts("GAIN [V]: ", &Font_6x8, 1);
	ftoa(screen_text_buff, wg_gain, 1);
	SSD1306_Puts(screen_text_buff, &Font_6x8, 1);
	SSD1306_Puts("  ", &Font_6x8, 1);

	//show average output voltage
	SSD1306_GotoXY(0, 36);
	SSD1306_Puts("OUT avr [V]: ", &Font_6x8, 1);
	ftoa(screen_text_buff, wg_cal_out, 1);

	//add minus symbol (because between -1 and 0 is not displayed)
	if ((wg_cal_out < 0.0f) && (wg_cal_out > -1.0f)) {
		SSD1306_Puts("-", &Font_6x8, 1);
	}
	SSD1306_Puts(screen_text_buff, &Font_6x8, 1);
	SSD1306_Puts("  ", &Font_6x8, 1);

	//if offset or output is out of the voltage opamp circuit range, set alert
	SSD1306_GotoXY(0, 45);
	if (((wg_out_ovr == 1) || (wg_offset_ovr == 1))&&(error_screen_delay == 1)) {
		SSD1306_Puts("OV VCC !", &Font_6x8, 0);
	} else {
		SSD1306_Puts("        ", &Font_6x8, 1);
	}

	//show data
	SSD1306_UpdateScreen();
}

//converter screen
void oled_converter(void) {

	//data to set cursor
	screen_cursor_config[0] = 1;	//active
	screen_cursor_config[1] = 1;	//first position
	screen_cursor_config[2] = 2;	//step

	//show title
	SSD1306_GotoXY(0, 0);
	SSD1306_DrawFilledRectangle(0, 0, 109, 7, 1);
	SSD1306_Puts("-CONVERTER-", &Font_6x8, 0);

	//show and set voltage value on the output of converter
	SSD1306_GotoXY(0, 9);
	SSD1306_Puts("U SET [V]: ", &Font_6x8, 1);
	ftoa(screen_text_buff, conv_voltage_set, 1);
	SSD1306_Puts(screen_text_buff, &Font_6x8, 1);
	SSD1306_Puts("  ", &Font_6x8, 1);

	//show and set max current value on the output of converter
	SSD1306_GotoXY(0, 18);
	SSD1306_Puts("I SET [mA]: ", &Font_6x8, 1);
	itoa((uint16_t) conv_current_set, screen_text_buff, 10);
	SSD1306_Puts(screen_text_buff, &Font_6x8, 1);
	SSD1306_Puts("  ", &Font_6x8, 1);

	//voltage value on the converter output
	SSD1306_GotoXY(0, 27);
	SSD1306_Puts("U MES [V]: ", &Font_6x8, 1);
	ftoa(screen_text_buff, conv_voltage_mes, 1);
	SSD1306_Puts(screen_text_buff, &Font_6x8, 1);
	SSD1306_Puts("  ", &Font_6x8, 1);

	//current value on the converter output
	SSD1306_GotoXY(0, 36);
	SSD1306_Puts("I MES [mA]: ", &Font_6x8, 1);
	itoa((uint16_t) conv_current_mes, screen_text_buff, 10);
	SSD1306_Puts(screen_text_buff, &Font_6x8, 1);
	SSD1306_Puts("  ", &Font_6x8, 1);

	//pwm value to control the npn transistor of the sepic converter
	SSD1306_GotoXY(0, 45);
	SSD1306_Puts("PWM[-]: ", &Font_6x8, 1);
	ftoa(screen_text_buff, conv_pwm_control, 1);
	SSD1306_Puts(screen_text_buff, &Font_6x8, 1);
	SSD1306_Puts("   ", &Font_6x8, 1);

	//show data
	SSD1306_UpdateScreen();
}

//voltage parameter screen
void oled_parameters(void) {

	//data to set cursor
	screen_cursor_config[0] = 0;	//idle
	screen_cursor_config[1] = 0;	//first pos
	screen_cursor_config[2] = 0;	//step

	//show title
	SSD1306_GotoXY(0, 0);
	SSD1306_DrawFilledRectangle(0, 0, 109, 7, 1);
	SSD1306_Puts("-POWER-", &Font_6x8, 0);

	//show SOC and battery voltage
	SSD1306_GotoXY(0, 9);
	SSD1306_Puts("BATT[%]|[V]: ", &Font_6x8, 1);
	itoa(vcc_batt_soc, screen_text_buff, 10);
	SSD1306_Puts(screen_text_buff, &Font_6x8, 1);
	SSD1306_Puts("|", &Font_6x8, 1);
	ftoa(screen_text_buff, vcc_voltage_batt_mes, 1);
	SSD1306_Puts(screen_text_buff, &Font_6x8, 1);
	SSD1306_Puts("  ", &Font_6x8, 1);

	//show positive voltage supply for opamp
	SSD1306_GotoXY(0, 18);
	SSD1306_Puts("CONV+[V]: ", &Font_6x8, 1);
	ftoa(screen_text_buff, pos_vdc_voltage_mes, 1);
	SSD1306_Puts(screen_text_buff, &Font_6x8, 1);
	SSD1306_Puts("   ", &Font_6x8, 1);

	//show negative voltage supply for opamp
	SSD1306_GotoXY(0, 27);
	SSD1306_Puts("CONV-[V]: ", &Font_6x8, 1);
	ftoa(screen_text_buff, neg_vdc_voltage_mes, 1);
	SSD1306_Puts(screen_text_buff, &Font_6x8, 1);
	SSD1306_Puts("   ", &Font_6x8, 1);

	//show data
	SSD1306_UpdateScreen();
}

//welcome screen
void oled_hello (void)
{
	//show start screen
	SSD1306_GotoXY(10, 10);
	SSD1306_Puts("INITIALIZATION", &Font_6x8, 1);
	HAL_Delay(2);
	SSD1306_UpdateScreen();

	//add random circles
	for(uint8_t n = 0; n<=10; n++)
	{
	SSD1306_DrawCircle(random_number(10,122), random_number(10,54), random_number(5,20), 1);
	SSD1306_UpdateScreen();
	HAL_Delay(2);
	}

}

/*
 * indicator screen function
 * this section add indicator (cursor) on the any screen if is needed
 * indicator shows what type of parameter is choose
 * section also adds a value multiplier (x1, x10, x100, x1000)
 * multiplier multiplies the parameter selected by the indicator
 * this function also allows the parameter to be set using the rotary encoder
 */
void oled_indicator(void) {
	//if screen has been changed or step number is out of range, reset the cursor position
	if ((encoder_switch_short > screen_cursor_config[2]) || (screen_new == 1)) {
		encoder_switch_short = screen_cursor_config[1];
		encoder_switch_short_2 = screen_cursor_config[1];
	}

	//set (new) cursor position
	if (screen_cursor_config[0] == 1) {

		//remove cursor from wrong positions
		for (uint16_t i = screen_cursor_config[1]; i <= screen_cursor_config[2]; i++)	//kasowanie kursora
				{
			SSD1306_GotoXY(110, screen_indicator_step_vertical * i);
			if ((screen_indicator_step_vertical * i) == (screen_indicator_step_vertical * encoder_switch_short)) {
				// but not from currently selected
			} else {
				SSD1306_Puts("  ", &Font_6x8, 1);
			}
		}

		//set cursor on correct position
		SSD1306_GotoXY(110, screen_indicator_step_vertical * encoder_switch_short);
		SSD1306_Puts("<-", &Font_6x8, 1);
	}

	//change selected parameters on the wave generator screem
	if (encoder_switch_long == 0) {
		switch (screen_indicator_step_vertical * encoder_switch_short) {
		case 0: {	//output wave type
			wg_wave_mode = encoder_managment(wg_wave_mode, 0, 2, 1, 1);
			break;
		}
		case screen_indicator_step_vertical: {	//output frequency
			dac_freq = encoder_managment(dac_freq, 0, wg_max_frequency,
					1 * screen_multiplier, 1);
			break;
		}
		default:	//reset
			encoder_switch_short = 0;
		}
	}

	//change selected parameters on the sepic converter screen
	else if (encoder_switch_long == 1) {
		switch (screen_indicator_step_vertical * encoder_switch_short) {
		case screen_indicator_step_vertical: {	//output voltage
			conv_voltage_set = encoder_managment_f(conv_voltage_set, 0.00f,
			U_bb_max, 0.1f * screen_multiplier, 1);
			break;
		}
		case (2*screen_indicator_step_vertical): {	//output current
			conv_current_set = encoder_managment_f(conv_current_set, 0.00f,
			I_bb_max, 1.0f * screen_multiplier, 1);
			break;
		}
		default:	//reset
			encoder_switch_short = 0;
		}

	} else {
		// no more screens
	}

	//add and set value multiplier
	switch (encoder_switch_double_long) {
	case 0: {
		screen_multiplier = screen_multiplier_value[0];
		break;
	}
	case 1: {
		screen_multiplier = screen_multiplier_value[1];
		break;
	}
	case 2: {
		screen_multiplier = screen_multiplier_value[2];
		break;
	}
	case 3: {
		screen_multiplier = screen_multiplier_value[3];
		break;
	}
	default:	//reset
		encoder_switch_double_long = 0;
		encoder_switch_double_long_2 = 0;
		screen_multiplier = 1;
	}

	//screens number where the value multiplier is needed
	if (encoder_switch_long < indicator_screens_number) {
		SSD1306_GotoXY(90, 48);
		itoa(screen_multiplier, screen_text_buff, 10);
		SSD1306_Puts("x", &Font_6x8, 1);
		SSD1306_Puts(screen_text_buff, &Font_6x8, 1);
		SSD1306_Puts("   ", &Font_6x8, 1);
	}

	//show data on the screen
	SSD1306_UpdateScreen();
}

//screen with graphs
void oled_graph(void) {
	//data to set cursor
	screen_cursor_config[0] = 0;	//active
	screen_cursor_config[1] = 0;	//first position
	screen_cursor_config[2] = 0;	//step

	//draw new axis on the graph
	init_new_graph = 1;

	//select graph by rotary encoder
	graph_set = encoder_managment(graph_set, 0, 3, 1, 0);

	switch (graph_set) {

	case 0: {
		draw_graph((double)x_value_graph, conv_voltage_mes, 30, 50, 75, 30, 0, 100, 0,
				conv_voltage_set * 1.5, "U MES [V]", 0, " |50 ms ");
		break;
	}
	case 1: {
		draw_graph((double)x_value_graph, (uint16_t) conv_current_mes, 30, 50, 75, 30,
				0, 100, 0, conv_current_set * 1.5, "I MES [mA]", 1,
				" |50 ms ");
		break;
	}
	case 2: {
		draw_graph((double)x_value_graph, conv_pwm_control, 30, 50, 75, 30, 0, 100, 0,
				300, "PWM", 1, " |50 ms ");
		break;
	}
	default:	//reset
		graph_set = 0;
	}
}

//emergency screen - low battery
void oled_batt(void) {
	//conditions prevent screen jumping
	if ((vcc_batt_soc <  batt_low_soc) && (batt_low_state == 0)) {

		//turn off work of wg and converter
		wg_sw_start = 0;
		conv_sw_start = 0;
		wave_generator_managment();
		converter_managment();

		//show information about alerts
		SSD1306_Clear();
		SSD1306_GotoXY(0, 10);
		SSD1306_Puts("LOW BATTERY", &Font_11x18, 1);

		SSD1306_GotoXY(0, 30);
		SSD1306_Puts("BATT[%]|[V]: ", &Font_6x8, 1);
		itoa(vcc_batt_soc, screen_text_buff, 10);
		SSD1306_Puts(screen_text_buff, &Font_6x8, 1);
		SSD1306_Puts("|", &Font_6x8, 1);
		ftoa(screen_text_buff, vcc_voltage_batt_mes, 1);
		SSD1306_Puts(screen_text_buff, &Font_6x8, 1);
		SSD1306_Puts("  ", &Font_6x8, 1);

		SSD1306_UpdateScreen();
		HAL_Delay(5000);
		SSD1306_Clear();
		SSD1306_UpdateScreen();
		batt_low_state = 1;
	} else if (vcc_batt_soc > (batt_low_soc+10)) {
		batt_low_state = 0;
	} else {

	}
}

//emergency screen - supply to opamp
void oled_vcc_error(void) {
	//conditions prevent screen jumping
	if (((neg_vdc_voltage_mes > neg_vdc_voltage_low)
			|| (pos_vdc_voltage_mes < pos_vdc_voltage_low))
			&& (power_error_state == 0)) {

		//turn off work of wg and converter
		wg_sw_start = 0;
		conv_sw_start = 0;
		wave_generator_managment();
		converter_managment();
		SSD1306_Clear();
		SSD1306_GotoXY(0, 5);
		SSD1306_Puts("POWER ERROR", &Font_11x18, 1);

		//show information about alerts
		SSD1306_GotoXY(0, 25);
		SSD1306_Puts("CONV+[V]: ", &Font_6x8, 1);
		ftoa(screen_text_buff, pos_vdc_voltage_mes, 1);
		SSD1306_Puts(screen_text_buff, &Font_6x8, 1);
		SSD1306_Puts("   ", &Font_6x8, 1);

		SSD1306_GotoXY(0, 35);
		SSD1306_Puts("CONV-[V]: ", &Font_6x8, 1);
		ftoa(screen_text_buff, neg_vdc_voltage_mes, 1);
		SSD1306_Puts(screen_text_buff, &Font_6x8, 1);
		SSD1306_Puts("   ", &Font_6x8, 1);

		SSD1306_UpdateScreen();
		HAL_Delay(5000);
		SSD1306_Clear();
		SSD1306_UpdateScreen();
		power_error_state = 1;

	} else if ((neg_vdc_voltage_mes < (neg_vdc_voltage_mes - 0.2f))
			&& (pos_vdc_voltage_mes > (pos_vdc_voltage_low + 0.2f))) {
		power_error_state = 0;
	} else {

	}
}

//function to control xl6009 - new solution to converter (in future)
//void bb_xl6009(void) {
//
//	float bb_voltage_diff = fabs(bb_voltage_set - bb_voltage_mes);
//
//	if (bb_sw_start == 1)	//przetwornica wlaczona
//			{
//		//on enable pin
//		//i out pwm pin 100 // off
//		if (bb_current_mes <= bb_current_set) {
//			HAL_GPIO_WritePin(GPIOB, LED_STOP_BB_Pin, RESET);
//
//			if(bb_voltage_set > bb_voltage_mes)
//			{
//				//bb_fb pin--;
//
//			}
//			else if (bb_voltage_set < bb_voltage_mes)
//			{
//				//bb_fb pin++;
//
//				}
//
//			else
//			{
//
//			}
//
//		}
//
//		else {
//			HAL_GPIO_WritePin(GPIOB, LED_STOP_BB_Pin, SET);
//			//bb_fb pin++;
//		}
//
//	}
//
//
//
//	else {
//		//off enable pin
//		//i out pwm 0 //off
//	}
//
////		bb_pwm_control = constrain(bb_pwm_control,
////				((bb_pwm_arr * bb_pwm_min) / 100),
////				((bb_pwm_arr * bb_pwm_max) / 100));
//	//maksymalne zakresy pinu fb
//
//	//zapisz pwm do pinu fb
//
//
//}

/* USER CODE END PFP */

int main(void)
{

  /* MCU Configuration--------------------------------------------------------*/

  /* Reset of all peripherals, Initializes the Flash interface and the Systick. */
  HAL_Init();

  /* Configure the system clock */
  SystemClock_Config();

  /* Initialize all configured peripherals */
  MX_GPIO_Init();
  MX_DMA_Init();
  MX_ADC1_Init();
  MX_I2C1_Init();
  MX_TIM3_Init();
  MX_TIM2_Init();
  MX_TIM4_Init();
  /* USER CODE BEGIN 2 */

  //INITs
  //turn LED on the start of Inits
  HAL_GPIO_WritePin(GPIOB, LED_WORK_BB_Pin, SET);
  HAL_GPIO_WritePin(GPIOB, LED_STOP_BB_Pin, SET);
  HAL_GPIO_WritePin(GPIOB, LED_WORK_DAC_Pin, SET);

  	//OLED init
  	SSD1306_Init();

  	//ADC calibration
	if(HAL_OK==HAL_ADCEx_Calibration_Start(&hadc1))
	{
		oled_hello();//after calibration show hello
	}

	//others modules
	HAL_TIM_Encoder_Start(&htim2, TIM_CHANNEL_ALL);	//encoder
	HAL_TIM_PWM_Start(&htim4, TIM_CHANNEL_4); 	//240 kHz PWM
	//moving average - slow and fast
	Moving_Average_Init_0(&filterStruct_slow[mes_size]);
	Moving_Average_Init_1(&filterStruct_fast[mes_size]);
	AD9833_Init(0, 0, 0);	//wave generator module

	//clean screen
	SSD1306_Clear();
	HAL_Delay(10);

	HAL_TIM_Base_Start_IT(&htim3);	//timer turn on

	//turns off LEDs when initialization is complete
	HAL_GPIO_WritePin(GPIOB, LED_WORK_BB_Pin, RESET);
	HAL_GPIO_WritePin(GPIOB, LED_STOP_BB_Pin, RESET);
	HAL_GPIO_WritePin(GPIOB, LED_WORK_DAC_Pin, RESET);

  /* USER CODE END 2 */

  /* Infinite loop */
  /* USER CODE BEGIN WHILE */
	while (1) {

		//read data
		encoder_rot =( __HAL_TIM_GET_COUNTER(&htim2)>> 1); //encoder counter
		adc_read();		 //adc value
		switch_managment();	//switches and encoder button

		//set work mode for outputs
		wave_generator_managment();	//zarzadzanie dac
		converter_managment();

		//screens management -
		switch ( encoder_switch_long )
		{
		case 0:
			oled_wave_generator();
			break;

		case 1:
			oled_converter();
			break;

		case 2:
			oled_graph();
			break;

		case 3:
			oled_parameters();
			break;

		default:
			//reset long encoder value
			encoder_switch_long = 0;
			encoder_switch_long_2 = 0;
			break;
		}

		//clean oled if new screen is set
		if(encoder_switch_long!=screen_old_num)
		{
			SSD1306_Clear();
			screen_old_num = encoder_switch_long;
			encoder_switch_short = 0;
			encoder_switch_short_2 =0;
			screen_new = 1;
		}
		else
		{
			screen_new = 0;
		}

		//cursor on the screen
		oled_indicator();

		//if delay after launching has passed, check supply conditions
		if(error_screen_delay == 1)
		{
		oled_batt(); //low battery
		oled_vcc_error();//opamp section supply errors (to low voltage levels)
		}

    /* USER CODE END WHILE */

	}
}

void SystemClock_Config(void)
{
  RCC_OscInitTypeDef RCC_OscInitStruct = {0};
  RCC_ClkInitTypeDef RCC_ClkInitStruct = {0};
  RCC_PeriphCLKInitTypeDef PeriphClkInit = {0};

  /** Initializes the RCC Oscillators according to the specified parameters
  * in the RCC_OscInitTypeDef structure.
  */
  RCC_OscInitStruct.OscillatorType = RCC_OSCILLATORTYPE_HSE;
  RCC_OscInitStruct.HSEState = RCC_HSE_ON;
  RCC_OscInitStruct.HSEPredivValue = RCC_HSE_PREDIV_DIV1;
  RCC_OscInitStruct.HSIState = RCC_HSI_ON;
  RCC_OscInitStruct.PLL.PLLState = RCC_PLL_ON;
  RCC_OscInitStruct.PLL.PLLSource = RCC_PLLSOURCE_HSE;
  RCC_OscInitStruct.PLL.PLLMUL = RCC_PLL_MUL9;
  if (HAL_RCC_OscConfig(&RCC_OscInitStruct) != HAL_OK)
  {
    Error_Handler();
  }

  /** Initializes the CPU, AHB and APB buses clocks
  */
  RCC_ClkInitStruct.ClockType = RCC_CLOCKTYPE_HCLK|RCC_CLOCKTYPE_SYSCLK
                              |RCC_CLOCKTYPE_PCLK1|RCC_CLOCKTYPE_PCLK2;
  RCC_ClkInitStruct.SYSCLKSource = RCC_SYSCLKSOURCE_PLLCLK;
  RCC_ClkInitStruct.AHBCLKDivider = RCC_SYSCLK_DIV1;
  RCC_ClkInitStruct.APB1CLKDivider = RCC_HCLK_DIV2;
  RCC_ClkInitStruct.APB2CLKDivider = RCC_HCLK_DIV16;

  if (HAL_RCC_ClockConfig(&RCC_ClkInitStruct, FLASH_LATENCY_2) != HAL_OK)
  {
    Error_Handler();
  }
  PeriphClkInit.PeriphClockSelection = RCC_PERIPHCLK_ADC;
  PeriphClkInit.AdcClockSelection = RCC_ADCPCLK2_DIV8;
  if (HAL_RCCEx_PeriphCLKConfig(&PeriphClkInit) != HAL_OK)
  {
    Error_Handler();
  }
}

/* USER CODE BEGIN 4 */

//timer interrupt - 10 ms
void HAL_TIM_PeriodElapsedCallback(TIM_HandleTypeDef *htim) {
	if (htim->Instance == TIM3) {

		//main - reference time base
		timer_3_counter_main++;

		//graph
		timer_3_counter_graph++;

		//graph x value - time base
		if (timer_3_counter_graph > timer_3_counter_graph_max_fac ) {
			x_value_graph++;
			timer_3_counter_graph = 0;
		}

		//reset graph time base if new screen has been set
		if (encoder_switch_long != graph_screen_max) {
			x_value_graph = 0;
		}

		//reset graph progress if time base have max value
		if ((x_value_graph >= x_value_graph_max_fac) || (graph_set_prev != graph_set)) {
			x_value_graph = 0;
			graph_set_prev = graph_set;
			SSD1306_Clear();
			init_new_graph = 1;
		}

		//time base to converter, supply error functions and encoder button
		if (timer_3_counter_main > timer_3_counter_main_max_fac ) {
			timer_3_counter_encoder_sw++;
			timer_3_counter_conv_sync++;
			timer_3_counter_error_check_delay++;

			//time base to supply error functions
			if (timer_3_counter_error_check_delay > timer_3_counter_error_check_delay_fac) {

				//allow on the error screens after delayed and only 1 while device is running
				error_screen_delay = 1;
			}
			//reset the counter when it counts to a set value
			timer_3_counter_main = 0;

		} else {
		}
	}
}

/* USER CODE END 4 */

void Error_Handler(void)
{
	__disable_irq();
	while (1) {
	}
}
